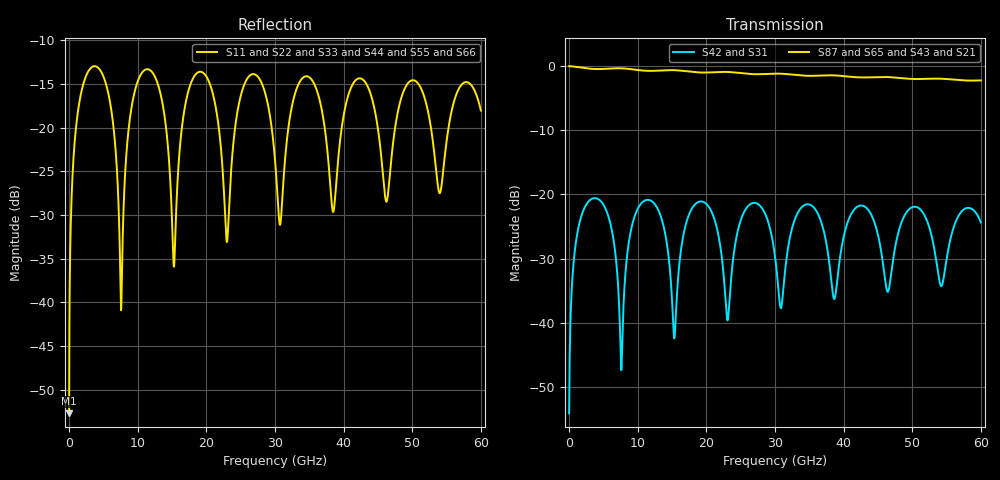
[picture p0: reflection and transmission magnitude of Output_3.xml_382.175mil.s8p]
# Hz S ri R 50
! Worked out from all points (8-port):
!   1500 points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, 40 MHz to 60 GHz, reference 50 ohm
!   strongest paths, dB at 40 MHz, 15.04 GHz, 30.04 GHz, 45.04 GHz, 60 GHz:
!     S87: 0.0, -0.6, -1.2, -1.7, -2.2
!     S65: 0.0, -0.6, -1.2, -1.7, -2.2
!     S43: 0.0, -0.6, -1.2, -1.7, -2.2
!     S21: 0.0, -0.6, -1.2, -1.7, -2.2
!     S42: -54.1, -36.7, -29.9, -26.4, -24.4
!     S31: -54.1, -36.7, -29.9, -26.4, -24.4
!   lowest |S11| = -52.7 dB at 40 MHz (marker M1), VSWR 1.00, Z = 50.1 - j0.222 ohm
!   |S11| at or under -10 dB: start of sweep to end of sweep
